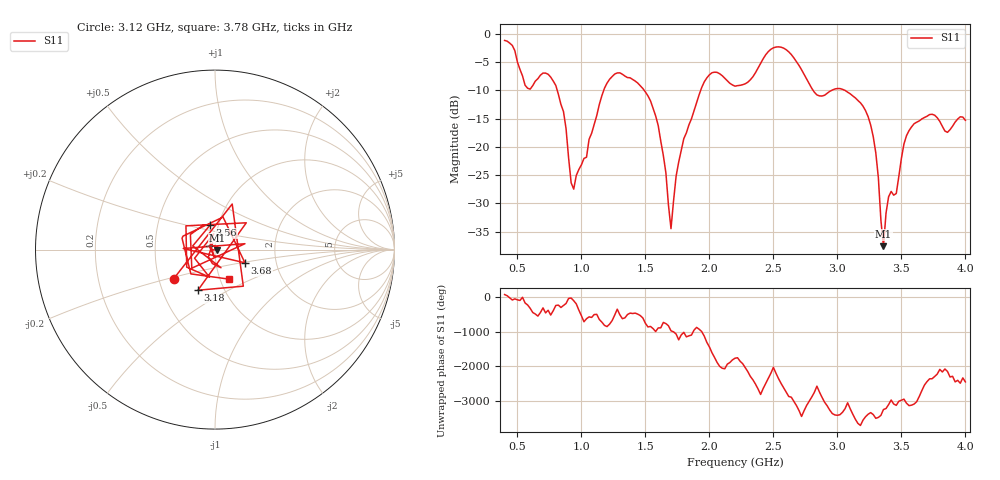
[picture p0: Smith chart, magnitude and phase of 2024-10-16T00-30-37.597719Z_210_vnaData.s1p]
! Created with skrf (http://scikit-rf.org).
# Hz S RI R 50.0
!freq ReS11 ImS11
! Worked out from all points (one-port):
!   181 points, 400 MHz to 4 GHz, reference 50 ohm
!   lowest |S11| = -37.5 dB at 3.36 GHz (marker M1), VSWR 1.03, Z = 51.3 - j0.26 ohm
!   |S11| at or under -10 dB: 811.3 MHz to 1.174 GHz (363 MHz wide, 36.6 % of centre); 1.491 GHz to 1.932 GHz (440.7 MHz wide, 25.8 % of centre); 3.06 GHz to end of sweep (the widest 3 of 4)
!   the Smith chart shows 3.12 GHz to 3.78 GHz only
!   S11 on the Smith chart (normalised r, x): 3.12 GHz: 0.60, -0.21; 3.18 GHz: 0.75, -0.36; 3.56 GHz: 0.91, +0.26; 3.68 GHz: 1.38, -0.21; 3.78 GHz: 1.10, -0.37
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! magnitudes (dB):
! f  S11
! 400 MHz  -1.2
! 560 MHz  -9.1
! 740 MHz  -7.1
! 860 MHz  -13.7
! 940 MHz  -27.5
! 1.18 GHz  -9.6
! 1.3 GHz  -6.9
! 1.58 GHz  -14.5
! 1.66 GHz  -24.6
! 1.7 GHz  -34.4
! 1.76 GHz  -22.7
! 1.98 GHz  -7.8
! 2.2 GHz  -9.2
! 2.5 GHz  -2.5
! 2.66 GHz  -4.3
! 2.84 GHz  -10.8
! 3.1 GHz  -10.6
! 3.12 GHz  -11.0
! 3.18 GHz  -12.2
! 3.28 GHz  -18.2
! 3.32 GHz  -25.4
! 3.36 GHz  -37.5
! 3.4 GHz  -28.8
! 3.46 GHz  -28.2
! 3.56 GHz  -17.1
! 3.68 GHz  -14.8
! 3.78 GHz  -14.8
! 4 GHz  -15.3
